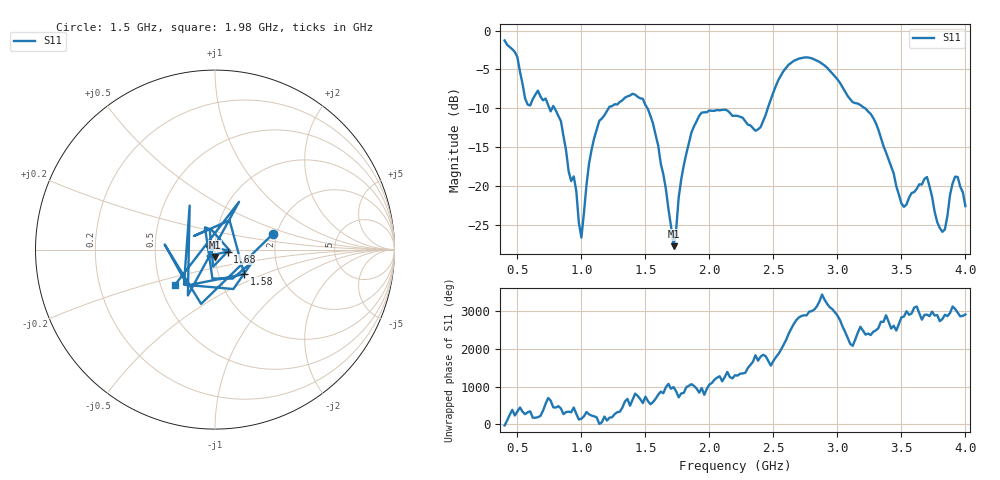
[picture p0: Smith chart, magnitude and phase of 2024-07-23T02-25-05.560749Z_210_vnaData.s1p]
!Created with skrf (http://scikit-rf.org).
# Hz S RI R 50.0
!freq ReS11 ImS11
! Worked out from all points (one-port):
!   181 points, 400 MHz to 4 GHz, reference 50 ohm
!   lowest |S11| = -27.7 dB at 1.72 GHz (marker M1), VSWR 1.09, Z = 49.6 - j4.07 ohm
!   |S11| at or under -10 dB: 790.5 MHz to 1.212 GHz (421.7 MHz wide, 42.1 % of centre); 1.516 GHz to 2.456 GHz (940.1 MHz wide, 47.3 % of centre); 3.216 GHz to end of sweep (the widest 3 of 4)
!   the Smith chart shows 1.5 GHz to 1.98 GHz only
!   S11 on the Smith chart (normalised r, x): 1.5 GHz: 1.90, +0.36; 1.58 GHz: 1.33, -0.38; 1.68 GHz: 1.15, -0.03; 1.98 GHz: 0.59, -0.26
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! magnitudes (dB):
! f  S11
! 400 MHz  -1.3
! 500 MHz  -3.4
! 580 MHz  -9.5
! 660 MHz  -7.7
! 860 MHz  -13.6
! 960 MHz  -20.6
! 1 GHz  -26.6
! 1.1 GHz  -13.8
! 1.3 GHz  -9.2
! 1.5 GHz  -9.6
! 1.58 GHz  -13.4
! 1.68 GHz  -23.0
! 1.72 GHz  -27.7
! 1.76 GHz  -21.5
! 1.86 GHz  -13.1
! 1.98 GHz  -10.5
! 2.2 GHz  -11.0
! 2.4 GHz  -12.4
! 2.66 GHz  -3.9
! 2.88 GHz  -4.3
! 3.1 GHz  -8.8
! 3.28 GHz  -11.2
! 3.5 GHz  -22.2
! 3.56 GHz  -21.5
! 3.7 GHz  -18.8
! 3.82 GHz  -25.9
! 3.92 GHz  -18.8
! 4 GHz  -22.6
